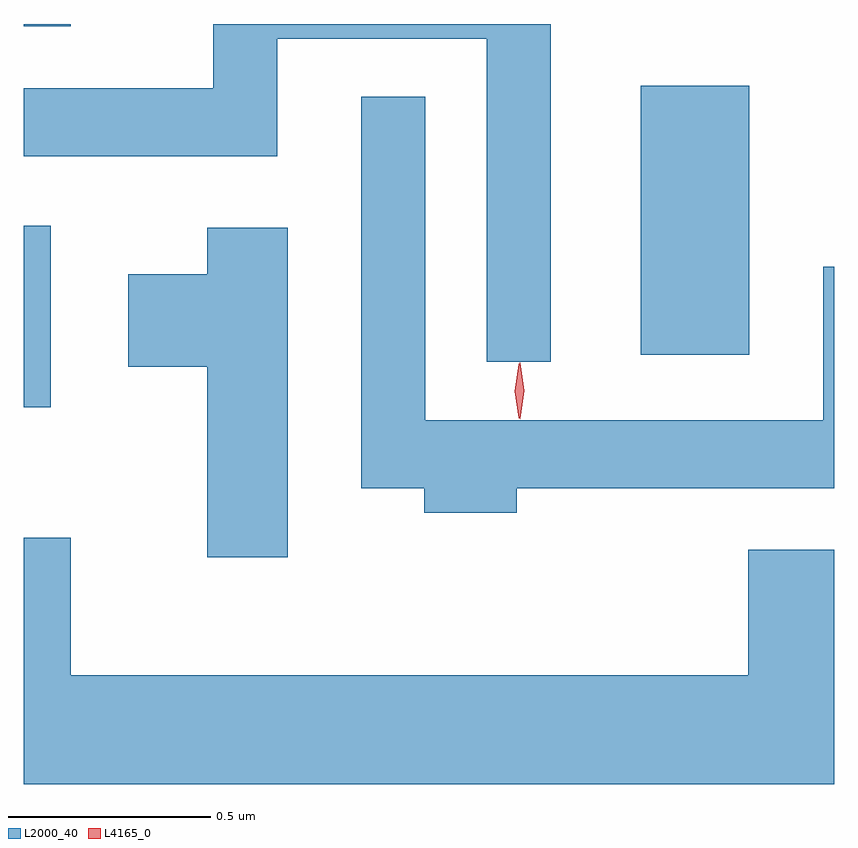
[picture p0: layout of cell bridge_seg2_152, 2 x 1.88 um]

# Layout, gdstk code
import gdstk
lib = gdstk.Library(unit=1e-6, precision=1e-09)
def R(c, l, rs):  # rectangles x0, y0, x1, y1
    for r in rs: c.add(gdstk.rectangle(r[:2], r[2:], *l))
def P(c, l, *ps):  # polygons
    for p in ps: c.add(gdstk.Polygon(p, *l))
L2000_40 = (2000, 40)
L4165_0 = (4165, 0)

bridge_seg2_152 = lib.new_cell('bridge_seg2_152')
R(bridge_seg2_152, L2000_40, [(1079.163,1104.746,1079.229,1105.194), (1080.686,1104.876,1080.954,1105.539), (1079.163,1105.686,1079.279,1105.692), (1080.951,1105.691,1081.163,1105.692)])
P(bridge_seg2_152, L2000_40, [(1080.464,1105.692),(1079.631,1105.692),(1079.631,1105.534),(1079.163,1105.534),(1079.163,1105.366),(1079.789,1105.366),(1079.789,1105.656),(1080.306,1105.656),(1080.306,1104.858),(1080.464,1104.858)],
  [(1080.379,1104.546),(1081.163,1104.546),(1081.163,1105.093),(1081.136,1105.093),(1081.136,1104.714),(1080.154,1104.714),(1080.154,1105.513),(1079.996,1105.513),(1079.996,1104.546),(1080.151,1104.546),(1080.151,1104.486),(1080.379,1104.486)],
  [(1079.814,1105.189),(1079.616,1105.189),(1079.616,1105.074),(1079.421,1105.074),(1079.421,1104.846),(1079.616,1104.846),(1079.616,1104.376),(1079.814,1104.376)],
  [(1081.163,1104.394),(1080.951,1104.394),(1080.951,1104.084),(1079.279,1104.084),(1079.279,1104.424),(1079.163,1104.424),(1079.163,1103.816),(1081.163,1103.816)])
P(bridge_seg2_152, L4165_0, [(1080.385,1104.719),(1080.385,1104.72),(1080.375,1104.786),(1080.384,1104.852),(1080.385,1104.853),(1080.386,1104.852),(1080.395,1104.786),(1080.386,1104.72)],
  [(1080.387,1104.717),(1080.378,1104.787),(1080.387,1104.856),(1080.388,1104.856),(1080.388,1104.856),(1080.398,1104.787),(1080.388,1104.717),(1080.388,1104.717)])

lib.write_gds('bridge_seg2_152.gds')
